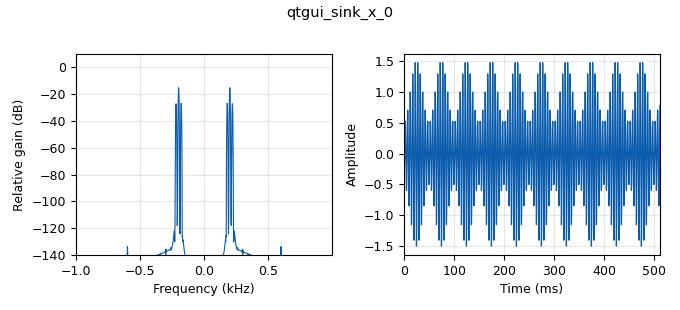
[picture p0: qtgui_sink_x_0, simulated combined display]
options:
  parameters:
    generate_options: qt_gui
    id: top_block
    output_language: python
  states: {}

blocks:
- name: samp_rate
  id: variable
  parameters:
    value: '2000'
  states: {}
- name: analog_sig_source_x_0
  id: analog_sig_source_x
  parameters:
    amp: '1'
    freq: '20'
    offset: '0'
    phase: '0'
    samp_rate: samp_rate
    type: float
    waveform: analog.GR_SIN_WAVE
  states: {}
- name: analog_sig_source_x_0_0
  id: analog_sig_source_x
  parameters:
    amp: '1'
    freq: '200'
    offset: '0'
    phase: '0'
    samp_rate: samp_rate
    type: float
    waveform: analog.GR_COS_WAVE
  states: {}
- name: blocks_add_xx_0
  id: blocks_add_xx
  parameters:
    type: float
  states: {}
- name: blocks_multiply_const_vxx_0
  id: blocks_multiply_const_vxx
  parameters:
    const: '0.5'
    type: float
  states: {}
- name: blocks_multiply_xx_0
  id: blocks_multiply_xx
  parameters:
    type: float
  states: {}
- name: blocks_throttle_0
  id: blocks_throttle
  parameters:
    samples_per_second: samp_rate
    type: float
  states: {}
- name: qtgui_sink_x_0
  id: qtgui_sink_x
  parameters:
    bw: samp_rate
    fc: '0'
    fftsize: '1024'
    type: float
    wintype: firdes.WIN_BLACKMAN_hARRIS
  states: {}

connections:
- [analog_sig_source_x_0, '0', blocks_multiply_const_vxx_0, '0']
- [analog_sig_source_x_0_0, '0', blocks_add_xx_0, '1']
- [analog_sig_source_x_0_0, '0', blocks_multiply_xx_0, '1']
- [blocks_add_xx_0, '0', blocks_throttle_0, '0']
- [blocks_multiply_const_vxx_0, '0', blocks_multiply_xx_0, '0']
- [blocks_multiply_xx_0, '0', blocks_add_xx_0, '0']
- [blocks_throttle_0, '0', qtgui_sink_x_0, '0']

metadata:
  file_format: 1
